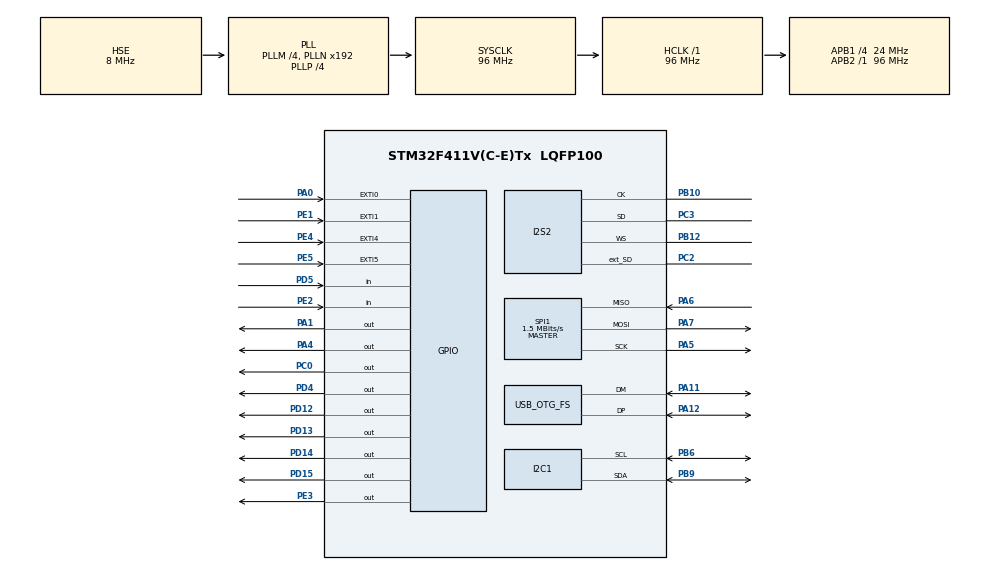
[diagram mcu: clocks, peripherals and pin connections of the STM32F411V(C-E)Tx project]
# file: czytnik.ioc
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FREERTOS.Tasks01=defaultTask,0,128,StartDefaultTask,Default,NULL
I2S2.AudioFreq=I2S_AUDIOFREQ_96K
I2S2.ErrorAudioFreq=0.15 %
I2S2.FullDuplexMode=I2S_FULLDUPLEXMODE_ENABLE
I2S2.Instance=SPI$Index
I2S2.RealAudioFreq=96.153 KHz
I2S2.VirtualMode=I2S_MODE_MASTER
Mcu.Family=STM32F4
Mcu.Name=STM32F411V(C-E)Tx
Mcu.Package=LQFP100
NVIC.OTG_FS_IRQn=true\:5\:0\:false\:false\:true\:true\:true
NVIC.PriorityGroup=NVIC_PRIORITYGROUP_4
NVIC.SPI1_IRQn=true\:5\:0\:false\:false\:true\:true\:true
NVIC.TIM1_UP_TIM10_IRQn=true\:0\:0\:false\:false\:true\:false\:false
NVIC.TimeBase=TIM1_UP_TIM10_IRQn
NVIC.TimeBaseIP=TIM1
PA0-WKUP.GPIO_ModeDefaultEXTI=GPIO_MODE_IT_RISING
PA0-WKUP.GPIO_PuPd=GPIO_NOPULL
PA0-WKUP.Signal=GPXTI0
PA1.Signal=GPIO_Output
PA10.Signal=USART1_RX
PA11.GPIO_Mode=GPIO_MODE_AF_PP
PA11.GPIO_PuPd=GPIO_NOPULL
PA11.GPIO_Speed=GPIO_SPEED_FREQ_VERY_HIGH
PA11.Mode=Host_Only
PA11.Signal=USB_OTG_FS_DM
PA12.GPIO_Mode=GPIO_MODE_AF_PP
PA12.GPIO_PuPd=GPIO_NOPULL
PA12.GPIO_Speed=GPIO_SPEED_FREQ_VERY_HIGH
PA12.Mode=Host_Only
PA12.Signal=USB_OTG_FS_DP
PA13.Mode=Serial_Wire
PA13.Signal=SYS_JTMS-SWDIO
PA14.Mode=Serial_Wire
PA14.Signal=SYS_JTCK-SWCLK
PA4.Signal=GPIO_Output
PA5.GPIO_Mode=GPIO_MODE_AF_PP
PA5.GPIO_PuPd=GPIO_NOPULL
PA5.GPIO_Speed=GPIO_SPEED_FREQ_VERY_HIGH
PA5.Mode=Full_Duplex_Master
PA5.Signal=SPI1_SCK
PA6.GPIO_Mode=GPIO_MODE_AF_PP
PA6.GPIO_PuPd=GPIO_NOPULL
PA6.GPIO_Speed=GPIO_SPEED_FREQ_VERY_HIGH
PA6.Mode=Full_Duplex_Master
PA6.Signal=SPI1_MISO
PA7.GPIO_Mode=GPIO_MODE_AF_PP
PA7.GPIO_PuPd=GPIO_NOPULL
PA7.GPIO_Speed=GPIO_SPEED_FREQ_VERY_HIGH
PA7.Mode=Full_Duplex_Master
PA7.Signal=SPI1_MOSI
PA9.Signal=USART1_TX
PB10.GPIO_Mode=GPIO_MODE_AF_PP
PB10.GPIO_PuPd=GPIO_NOPULL
PB10.GPIO_Speed=GPIO_SPEED_FREQ_LOW
PB10.Mode=Full_Duplex_Master
PB10.Signal=I2S2_CK
PB12.Mode=Full_Duplex_Master
PB12.Signal=I2S2_WS
PB3.Signal=SYS_JTDO-SWO
PB6.GPIO_Mode=GPIO_MODE_AF_OD
PB6.GPIO_PuPd=GPIO_NOPULL
PB6.GPIO_PuPdOD=GPIO_PULLUP
PB6.GPIO_Speed=GPIO_SPEED_FREQ_VERY_HIGH
PB6.Mode=I2C
PB6.Signal=I2C1_SCL
PB9.GPIO_Mode=GPIO_MODE_AF_OD
PB9.GPIO_PuPd=GPIO_NOPULL
PB9.GPIO_PuPdOD=GPIO_PULLUP
PB9.GPIO_Speed=GPIO_SPEED_FREQ_VERY_HIGH
PB9.Mode=I2C
PB9.Signal=I2C1_SDA
PC0.GPIO_ModeDefaultOutputPP=GPIO_MODE_OUTPUT_PP
PC0.GPIO_PuPd=GPIO_NOPULL
PC0.GPIO_Speed=GPIO_SPEED_FREQ_LOW
PC0.PinState=GPIO_PIN_RESET
PC0.Signal=GPIO_Output
PC10.GPIO_Mode=GPIO_MODE_AF_PP
PC10.GPIO_PuPd=GPIO_NOPULL
PC10.GPIO_Speed=GPIO_SPEED_FREQ_LOW
PC10.Signal=I2S3_CK
PC12.GPIO_Mode=GPIO_MODE_AF_PP
PC12.GPIO_PuPd=GPIO_NOPULL
PC12.GPIO_Speed=GPIO_SPEED_FREQ_LOW
PC12.Signal=I2S3_SD
PC14-OSC32_IN.Mode=LSE-External-Oscillator
PC14-OSC32_IN.Signal=RCC_OSC32_IN
PC15-OSC32_OUT.Mode=LSE-External-Oscillator
PC15-OSC32_OUT.Signal=RCC_OSC32_OUT
PC2.Mode=Full_Duplex_Master
PC2.Signal=I2S2_ext_SD
PC3.GPIO_Mode=GPIO_MODE_AF_PP
PC3.GPIO_PuPd=GPIO_NOPULL
PC3.GPIO_Speed=GPIO_SPEED_FREQ_LOW
PC3.Mode=Full_Duplex_Master
PC3.Signal=I2S2_SD
PC7.GPIO_Mode=GPIO_MODE_AF_PP
PC7.GPIO_PuPd=GPIO_NOPULL
PC7.GPIO_Speed=GPIO_SPEED_FREQ_LOW
PC7.Signal=I2S3_MCK
PD12.GPIO_ModeDefaultOutputPP=GPIO_MODE_OUTPUT_PP
PD12.GPIO_PuPd=GPIO_NOPULL
PD12.GPIO_Speed=GPIO_SPEED_FREQ_LOW
PD12.PinState=GPIO_PIN_RESET
PD12.Signal=GPIO_Output
PD13.GPIO_ModeDefaultOutputPP=GPIO_MODE_OUTPUT_PP
PD13.GPIO_PuPd=GPIO_NOPULL
PD13.GPIO_Speed=GPIO_SPEED_FREQ_LOW
PD13.PinState=GPIO_PIN_RESET
PD13.Signal=GPIO_Output
PD14.GPIO_ModeDefaultOutputPP=GPIO_MODE_OUTPUT_PP
PD14.GPIO_PuPd=GPIO_NOPULL
PD14.GPIO_Speed=GPIO_SPEED_FREQ_LOW
PD14.PinState=GPIO_PIN_RESET
PD14.Signal=GPIO_Output
PD15.GPIO_ModeDefaultOutputPP=GPIO_MODE_OUTPUT_PP
PD15.GPIO_PuPd=GPIO_NOPULL
PD15.GPIO_Speed=GPIO_SPEED_FREQ_LOW
PD15.PinState=GPIO_PIN_RESET
PD15.Signal=GPIO_Output
PD4.GPIO_ModeDefaultOutputPP=GPIO_MODE_OUTPUT_PP
PD4.GPIO_PuPd=GPIO_NOPULL
PD4.GPIO_Speed=GPIO_SPEED_FREQ_LOW
PD4.PinState=GPIO_PIN_RESET
PD4.Signal=GPIO_Output
PD5.GPIO_Mode=GPIO_MODE_INPUT
PD5.GPIO_PuPd=GPIO_NOPULL
PD5.Signal=GPIO_Input
PE1.GPIO_ModeDefaultEXTI=GPIO_MODE_IT_RISING
PE1.GPIO_PuPd=GPIO_NOPULL
PE1.Signal=GPXTI1
PE2.GPIO_Mode=GPIO_MODE_INPUT
PE2.GPIO_PuPd=GPIO_NOPULL
PE2.Signal=GPIO_Input
PE3.GPIO_ModeDefaultOutputPP=GPIO_MODE_OUTPUT_PP
PE3.GPIO_PuPd=GPIO_NOPULL
PE3.GPIO_Speed=GPIO_SPEED_FREQ_LOW
PE3.PinState=GPIO_PIN_RESET
PE3.Signal=GPIO_Output
PE4.GPIO_ModeDefaultEXTI=GPIO_MODE_IT_RISING
PE4.GPIO_PuPd=GPIO_NOPULL
PE4.Signal=GPXTI4
PE5.GPIO_ModeDefaultEXTI=GPIO_MODE_IT_RISING
PE5.GPIO_PuPd=GPIO_NOPULL
PE5.Signal=GPXTI5
PH0\ -\ OSC_IN.Mode=HSE-External-Oscillator
PH0\ -\ OSC_IN.Signal=RCC_OSC_IN
PH1\ -\ OSC_OUT.Mode=HSE-External-Oscillator
PH1\ -\ OSC_OUT.Signal=RCC_OSC_OUT
ProjectManager.HeapSize=0x200
ProjectManager.StackSize=0x400
ProjectManager.TargetToolchain=TrueSTUDIO
RCC.48MHZClocksFreq_Value=48000000
RCC.AHBFreq_Value=96000000
RCC.APB1CLKDivider=RCC_HCLK_DIV4
RCC.APB1Freq_Value=24000000
RCC.APB1TimFreq_Value=48000000
RCC.APB2Freq_Value=96000000
RCC.APB2TimFreq_Value=96000000
RCC.CortexFreq_Value=96000000
RCC.HCLKFreq_Value=96000000
RCC.HSE_VALUE=8000000
RCC.HSI_VALUE=16000000
RCC.PLLI2SM=5
RCC.PLLI2SN=200
RCC.PLLM=4
RCC.PLLP=RCC_PLLP_DIV4
RCC.PLLQ=8
RCC.SYSCLKFreq_VALUE=96000000
RCC.SYSCLKSource=RCC_SYSCLKSOURCE_PLLCLK
RCC.VCOOutputFreq_Value=384000000
SPI1.BaudRatePrescaler=SPI_BAUDRATEPRESCALER_64
SPI1.CalculateBaudRate=1.5 MBits/s
SPI1.Direction=SPI_DIRECTION_2LINES
SPI1.FirstBit=SPI_FIRSTBIT_MSB
SPI1.Mode=SPI_MODE_MASTER
SPI1.VirtualType=VM_MASTER
USB_HOST.BSP.number=1
USB_HOST.USBH_HandleTypeDef=hUsbHostFS
USB_HOST.VirtualModeFS=Cdc
USB_HOST0.BSP.STBoard=false
USB_HOST0.BSP.api=Unknown
USB_HOST0.BSP.i2caddr=0
USB_HOST0.BSP.i2creg=0
USB_HOST0.BSP.instance=PC0
USB_HOST0.BSP.ip=GPIO
USB_HOST0.BSP.mode=Output
USB_HOST0.BSP.name=Drive_VBUS_FS
USB_HOST0.BSP.solution=PC0
USB_OTG_FS.VirtualMode=Host_Only
USB_OTG_FS.phy_itface=HCD_PHY_EMBEDDED
VP_FREERTOS_VS_ENABLE.Mode=Enabled
VP_SYS_VS_tim1.Mode=TIM1
VP_USB_HOST_VS_USB_HOST_CDC_FS.Mode=CDC_FS
board=32F411EDISCOVERY

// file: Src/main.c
/**
  ******************************************************************************
  * @file           : main.c
  * @brief          : Main program body
  ******************************************************************************
  * This notice applies to any and all portions of this file
  * that are not between comment pairs USER CODE BEGIN and
  * USER CODE END. Other portions of this file, whether
  * inserted by the user or by software development tools
  * are owned by their respective copyright owners.
  *
  * Copyright (c) 2018 STMicroelectronics International N.V.
  * All rights reserved.
  *
  * Redistribution and use in source and binary forms, with or without
  * modification, are permitted, provided that the following conditions are met:
  *
  * 1. Redistribution of source code must retain the above copyright notice,
  *    this list of conditions and the following disclaimer.
  * 2. Redistributions in binary form must reproduce the above copyright notice,
  *    this list of conditions and the following disclaimer in the documentation
  *    and/or other materials provided with the distribution.
  * 3. Neither the name of STMicroelectronics nor the names of other
  *    contributors to this software may be used to endorse or promote products
  *    derived from this software without specific written permission.
  * 4. This software, including modifications and/or derivative works of this
  *    software, must execute solely and exclusively on microcontroller or
  *    microprocessor devices manufactured by or for STMicroelectronics.
  * 5. Redistribution and use of this software other than as permitted under
  *    this license is void and will automatically terminate your rights under
  *    this license.
  *
  * THIS SOFTWARE IS PROVIDED BY STMICROELECTRONICS AND CONTRIBUTORS "AS IS"
  * AND ANY EXPRESS, IMPLIED OR STATUTORY WARRANTIES, INCLUDING, BUT NOT
  * LIMITED TO, THE IMPLIED WARRANTIES OF MERCHANTABILITY, FITNESS FOR A
  * PARTICULAR PURPOSE AND NON-INFRINGEMENT OF THIRD PARTY INTELLECTUAL PROPERTY
  * RIGHTS ARE DISCLAIMED TO THE FULLEST EXTENT PERMITTED BY LAW. IN NO EVENT
  * SHALL STMICROELECTRONICS OR CONTRIBUTORS BE LIABLE FOR ANY DIRECT, INDIRECT,
  * INCIDENTAL, SPECIAL, EXEMPLARY, OR CONSEQUENTIAL DAMAGES (INCLUDING, BUT NOT
  * LIMITED TO, PROCUREMENT OF SUBSTITUTE GOODS OR SERVICES; LOSS OF USE, DATA,
  * OR PROFITS; OR BUSINESS INTERRUPTION) HOWEVER CAUSED AND ON ANY THEORY OF
  * LIABILITY, WHETHER IN CONTRACT, STRICT LIABILITY, OR TORT (INCLUDING
  * NEGLIGENCE OR OTHERWISE) ARISING IN ANY WAY OUT OF THE USE OF THIS SOFTWARE,
  * EVEN IF ADVISED OF THE POSSIBILITY OF SUCH DAMAGE.
  *
  ******************************************************************************
  */
#include "main.h"
#include "stm32f4xx_hal.h"
#include "cmsis_os.h"
#include "usb_host.h"

/* USER CODE BEGIN Includes */
#include "rc522.h"
#include <inttypes.h>
/* USER CODE END Includes */

I2C_HandleTypeDef hi2c1;

I2S_HandleTypeDef hi2s2;

SPI_HandleTypeDef hspi1;

osThreadId defaultTaskHandle;

/* USER CODE BEGIN PV */
/* Private variables ---------------------------------------------------------*/

/* USER CODE END PV */

void SystemClock_Config(void);
static void MX_GPIO_Init(void);
static void MX_I2C1_Init(void);
static void MX_I2S2_Init(void);
static void MX_SPI1_Init(void);
void StartDefaultTask(void const * argument);

/* USER CODE BEGIN PFP */
/* Private function prototypes -----------------------------------------------*/

/* USER CODE END PFP */

int main(void)
{

  /* MCU Configuration----------------------------------------------------------*/

  /* Reset of all peripherals, Initializes the Flash interface and the Systick. */
  HAL_Init();

  /* Configure the system clock */
  SystemClock_Config();

  /* Initialize all configured peripherals */
  MX_GPIO_Init();
  MX_I2C1_Init();
  MX_I2S2_Init();
  MX_SPI1_Init();
  /* USER CODE BEGIN 2 */
  MFRC522_Init();
  /* USER CODE END 2 */

  /* Create the thread(s) */
  /* definition and creation of defaultTask */
  osThreadDef(defaultTask, StartDefaultTask, osPriorityNormal, 0, 128);
  defaultTaskHandle = osThreadCreate(osThread(defaultTask), NULL);

  /* Start scheduler */
  osKernelStart();

  /* We should never get here as control is now taken by the scheduler */

  /* Infinite loop */
  while (1)
  {

  }

}

void SystemClock_Config(void)
{

  RCC_OscInitTypeDef RCC_OscInitStruct;
  RCC_ClkInitTypeDef RCC_ClkInitStruct;
  RCC_PeriphCLKInitTypeDef PeriphClkInitStruct;

    /**Configure the main internal regulator output voltage
    */
  __HAL_RCC_PWR_CLK_ENABLE();

  __HAL_PWR_VOLTAGESCALING_CONFIG(PWR_REGULATOR_VOLTAGE_SCALE1);

    /**Initializes the CPU, AHB and APB busses clocks
    */
  RCC_OscInitStruct.OscillatorType = RCC_OSCILLATORTYPE_HSE;
  RCC_OscInitStruct.HSEState = RCC_HSE_ON;
  RCC_OscInitStruct.PLL.PLLState = RCC_PLL_ON;
  RCC_OscInitStruct.PLL.PLLSource = RCC_PLLSOURCE_HSE;
  RCC_OscInitStruct.PLL.PLLM = 4;
  RCC_OscInitStruct.PLL.PLLN = 192;
  RCC_OscInitStruct.PLL.PLLP = RCC_PLLP_DIV4;
  RCC_OscInitStruct.PLL.PLLQ = 8;
  if (HAL_RCC_OscConfig(&RCC_OscInitStruct) != HAL_OK)
  {
    _Error_Handler(__FILE__, __LINE__);
  }

    /**Initializes the CPU, AHB and APB busses clocks
    */
  RCC_ClkInitStruct.ClockType = RCC_CLOCKTYPE_HCLK|RCC_CLOCKTYPE_SYSCLK
                              |RCC_CLOCKTYPE_PCLK1|RCC_CLOCKTYPE_PCLK2;
  RCC_ClkInitStruct.SYSCLKSource = RCC_SYSCLKSOURCE_PLLCLK;
  RCC_ClkInitStruct.AHBCLKDivider = RCC_SYSCLK_DIV1;
  RCC_ClkInitStruct.APB1CLKDivider = RCC_HCLK_DIV4;
  RCC_ClkInitStruct.APB2CLKDivider = RCC_HCLK_DIV1;

  if (HAL_RCC_ClockConfig(&RCC_ClkInitStruct, FLASH_LATENCY_3) != HAL_OK)
  {
    _Error_Handler(__FILE__, __LINE__);
  }

  PeriphClkInitStruct.PeriphClockSelection = RCC_PERIPHCLK_I2S;
  PeriphClkInitStruct.PLLI2S.PLLI2SN = 200;
  PeriphClkInitStruct.PLLI2S.PLLI2SM = 5;
  PeriphClkInitStruct.PLLI2S.PLLI2SR = 2;
  if (HAL_RCCEx_PeriphCLKConfig(&PeriphClkInitStruct) != HAL_OK)
  {
    _Error_Handler(__FILE__, __LINE__);
  }

    /**Configure the Systick interrupt time
    */
  HAL_SYSTICK_Config(HAL_RCC_GetHCLKFreq()/1000);

    /**Configure the Systick
    */
  HAL_SYSTICK_CLKSourceConfig(SYSTICK_CLKSOURCE_HCLK);

  /* SysTick_IRQn interrupt configuration */
  HAL_NVIC_SetPriority(SysTick_IRQn, 15, 0);
}

/* I2C1 init function */
static void MX_I2C1_Init(void)
{

  hi2c1.Instance = I2C1;
  hi2c1.Init.ClockSpeed = 100000;
  hi2c1.Init.DutyCycle = I2C_DUTYCYCLE_2;
  hi2c1.Init.OwnAddress1 = 0;
  hi2c1.Init.AddressingMode = I2C_ADDRESSINGMODE_7BIT;
  hi2c1.Init.DualAddressMode = I2C_DUALADDRESS_DISABLE;
  hi2c1.Init.OwnAddress2 = 0;
  hi2c1.Init.GeneralCallMode = I2C_GENERALCALL_DISABLE;
  hi2c1.Init.NoStretchMode = I2C_NOSTRETCH_DISABLE;
  if (HAL_I2C_Init(&hi2c1) != HAL_OK)
  {
    _Error_Handler(__FILE__, __LINE__);
  }

}

/* I2S2 init function */
static void MX_I2S2_Init(void)
{

  hi2s2.Instance = SPI2;
  hi2s2.Init.Mode = I2S_MODE_MASTER_TX;
  hi2s2.Init.Standard = I2S_STANDARD_PHILIPS;
  hi2s2.Init.DataFormat = I2S_DATAFORMAT_16B;
  hi2s2.Init.MCLKOutput = I2S_MCLKOUTPUT_DISABLE;
  hi2s2.Init.AudioFreq = I2S_AUDIOFREQ_96K;
  hi2s2.Init.CPOL = I2S_CPOL_LOW;
  hi2s2.Init.ClockSource = I2S_CLOCK_PLL;
  hi2s2.Init.FullDuplexMode = I2S_FULLDUPLEXMODE_ENABLE;
  if (HAL_I2S_Init(&hi2s2) != HAL_OK)
  {
    _Error_Handler(__FILE__, __LINE__);
  }

}

/* SPI1 init function */
static void MX_SPI1_Init(void)
{

  /* SPI1 parameter configuration*/
  hspi1.Instance = SPI1;
  hspi1.Init.Mode = SPI_MODE_MASTER;
  hspi1.Init.Direction = SPI_DIRECTION_2LINES;
  hspi1.Init.DataSize = SPI_DATASIZE_8BIT;
  hspi1.Init.CLKPolarity = SPI_POLARITY_LOW;
  hspi1.Init.CLKPhase = SPI_PHASE_1EDGE;
  hspi1.Init.NSS = SPI_NSS_SOFT;
  hspi1.Init.BaudRatePrescaler = SPI_BAUDRATEPRESCALER_64;
  hspi1.Init.FirstBit = SPI_FIRSTBIT_MSB;
  hspi1.Init.TIMode = SPI_TIMODE_DISABLE;
  hspi1.Init.CRCCalculation = SPI_CRCCALCULATION_DISABLE;
  hspi1.Init.CRCPolynomial = 10;
  if (HAL_SPI_Init(&hspi1) != HAL_OK)
  {
    _Error_Handler(__FILE__, __LINE__);
  }

}

/** Configure pins as
        * Analog
        * Input
        * Output
        * EVENT_OUT
        * EXTI
     PC7   ------> I2S3_MCK
     PA9   ------> USART1_TX
     PA10   ------> USART1_RX
     PC10   ------> I2S3_CK
     PC12   ------> I2S3_SD
*/
static void MX_GPIO_Init(void)
{

  GPIO_InitTypeDef GPIO_InitStruct;

  /* GPIO Ports Clock Enable */
  __HAL_RCC_GPIOE_CLK_ENABLE();
  __HAL_RCC_GPIOC_CLK_ENABLE();
  __HAL_RCC_GPIOH_CLK_ENABLE();
  __HAL_RCC_GPIOA_CLK_ENABLE();
  __HAL_RCC_GPIOB_CLK_ENABLE();
  __HAL_RCC_GPIOD_CLK_ENABLE();

  /*Configure GPIO pin Output Level */
  HAL_GPIO_WritePin(GPIOE, GPIO_PIN_3, GPIO_PIN_RESET);

  /*Configure GPIO pin Output Level */
  HAL_GPIO_WritePin(GPIOC, GPIO_PIN_0, GPIO_PIN_RESET);

  /*Configure GPIO pin Output Level */
  HAL_GPIO_WritePin(GPIOA, GPIO_PIN_1|GPIO_PIN_4, GPIO_PIN_RESET);

  /*Configure GPIO pin Output Level */
  HAL_GPIO_WritePin(GPIOD, GPIO_PIN_12|GPIO_PIN_13|GPIO_PIN_14|GPIO_PIN_15
                          |GPIO_PIN_4, GPIO_PIN_RESET);

  /*Configure GPIO pin : PE2 */
  GPIO_InitStruct.Pin = GPIO_PIN_2;
  GPIO_InitStruct.Mode = GPIO_MODE_INPUT;
  GPIO_InitStruct.Pull = GPIO_NOPULL;
  HAL_GPIO_Init(GPIOE, &GPIO_InitStruct);

  /*Configure GPIO pin : PE3 */
  GPIO_InitStruct.Pin = GPIO_PIN_3;
  GPIO_InitStruct.Mode = GPIO_MODE_OUTPUT_PP;
  GPIO_InitStruct.Pull = GPIO_NOPULL;
  GPIO_InitStruct.Speed = GPIO_SPEED_FREQ_LOW;
  HAL_GPIO_Init(GPIOE, &GPIO_InitStruct);

  /*Configure GPIO pins : PE4 PE5 PE1 */
  GPIO_InitStruct.Pin = GPIO_PIN_4|GPIO_PIN_5|GPIO_PIN_1;
  GPIO_InitStruct.Mode = GPIO_MODE_IT_RISING;
  GPIO_InitStruct.Pull = GPIO_NOPULL;
  HAL_GPIO_Init(GPIOE, &GPIO_InitStruct);

  /*Configure GPIO pin : PC0 */
  GPIO_InitStruct.Pin = GPIO_PIN_0;
  GPIO_InitStruct.Mode = GPIO_MODE_OUTPUT_PP;
  GPIO_InitStruct.Pull = GPIO_NOPULL;
  GPIO_InitStruct.Speed = GPIO_SPEED_FREQ_LOW;
  HAL_GPIO_Init(GPIOC, &GPIO_InitStruct);

  /*Configure GPIO pin : PA0 */
  GPIO_InitStruct.Pin = GPIO_PIN_0;
  GPIO_InitStruct.Mode = GPIO_MODE_IT_RISING;
  GPIO_InitStruct.Pull = GPIO_NOPULL;
  HAL_GPIO_Init(GPIOA, &GPIO_InitStruct);

  /*Configure GPIO pins : PA1 PA4 */
  GPIO_InitStruct.Pin = GPIO_PIN_1|GPIO_PIN_4;
  GPIO_InitStruct.Mode = GPIO_MODE_OUTPUT_PP;
  GPIO_InitStruct.Pull = GPIO_NOPULL;
  GPIO_InitStruct.Speed = GPIO_SPEED_FREQ_LOW;
  HAL_GPIO_Init(GPIOA, &GPIO_InitStruct);

  /*Configure GPIO pins : PD12 PD13 PD14 PD15
                           PD4 */
  GPIO_InitStruct.Pin = GPIO_PIN_12|GPIO_PIN_13|GPIO_PIN_14|GPIO_PIN_15
                          |GPIO_PIN_4;
  GPIO_InitStruct.Mode = GPIO_MODE_OUTPUT_PP;
  GPIO_InitStruct.Pull = GPIO_NOPULL;
  GPIO_InitStruct.Speed = GPIO_SPEED_FREQ_LOW;
  HAL_GPIO_Init(GPIOD, &GPIO_InitStruct);

  /*Configure GPIO pins : PC7 PC10 PC12 */
  GPIO_InitStruct.Pin = GPIO_PIN_7|GPIO_PIN_10|GPIO_PIN_12;
  GPIO_InitStruct.Mode = GPIO_MODE_AF_PP;
  GPIO_InitStruct.Pull = GPIO_NOPULL;
  GPIO_InitStruct.Speed = GPIO_SPEED_FREQ_LOW;
  GPIO_InitStruct.Alternate = GPIO_AF6_SPI3;
  HAL_GPIO_Init(GPIOC, &GPIO_InitStruct);

  /*Configure GPIO pins : PA9 PA10 */
  GPIO_InitStruct.Pin = GPIO_PIN_9|GPIO_PIN_10;
  GPIO_InitStruct.Mode = GPIO_MODE_AF_PP;
  GPIO_InitStruct.Pull = GPIO_NOPULL;
  GPIO_InitStruct.Speed = GPIO_SPEED_FREQ_VERY_HIGH;
  GPIO_InitStruct.Alternate = GPIO_AF7_USART1;
  HAL_GPIO_Init(GPIOA, &GPIO_InitStruct);

  /*Configure GPIO pin : PD5 */
  GPIO_InitStruct.Pin = GPIO_PIN_5;
  GPIO_InitStruct.Mode = GPIO_MODE_INPUT;
  GPIO_InitStruct.Pull = GPIO_NOPULL;
  HAL_GPIO_Init(GPIOD, &GPIO_InitStruct);

}

void StartDefaultTask(void const * argument)
{
  /* init code for USB_HOST */
  MX_USB_HOST_Init();

  /* USER CODE BEGIN 5 */
  /* Infinite loop */

  uint8_t good_id[MFRC522_MAX_LEN]  = { 215, 133, 10, 133, 221, 0, 0, 0};

  uint8_t		str[MFRC522_MAX_LEN];
  uint8_t		lastID[4];
  int i;

  for(int k = 0; k < MFRC522_MAX_LEN; ++k) {
	  str[k] = 0;
  }

	/*for (i=0; i<4; i++) lastID[i] = str[i];
	printf("Card ID: ");
	for (i=0; i < MFRC522_MAX_LEN; i++) printf("%u ", str[i]);
	printf("\n");*/

  for(;;)
  {

	  printf("wersja: %u\n", MFRC522_ReadRegister(MFRC522_REG_VERSION));

	  if (!MFRC522_Request(PICC_REQIDL, str)) {
		  if (!MFRC522_Anticoll(str)) {
				if (MFRC522_Compare(str, good_id) == MI_OK) {
					printf("gud\n");
					HAL_GPIO_TogglePin(GPIOD, GPIO_PIN_15);
					HAL_GPIO_TogglePin(GPIOA, GPIO_PIN_1);
					vTaskDelay(1000);
					HAL_GPIO_TogglePin(GPIOA, GPIO_PIN_1);
					HAL_GPIO_TogglePin(GPIOD, GPIO_PIN_15);

				}else{
					HAL_GPIO_TogglePin(GPIOD, GPIO_PIN_14);
					vTaskDelay(1000);
					HAL_GPIO_TogglePin(GPIOD, GPIO_PIN_14);
				}
			}
	  }
	  vTaskDelay(200);
  }
  /* USER CODE END 5 */
}

void HAL_TIM_PeriodElapsedCallback(TIM_HandleTypeDef *htim)
{
  if (htim->Instance == TIM1) {
    HAL_IncTick();
  }
}

void _Error_Handler(char *file, int line)
{
  while(1)
  {
  }
}

/************************ (C) COPYRIGHT STMicroelectronics *****END OF FILE****/
